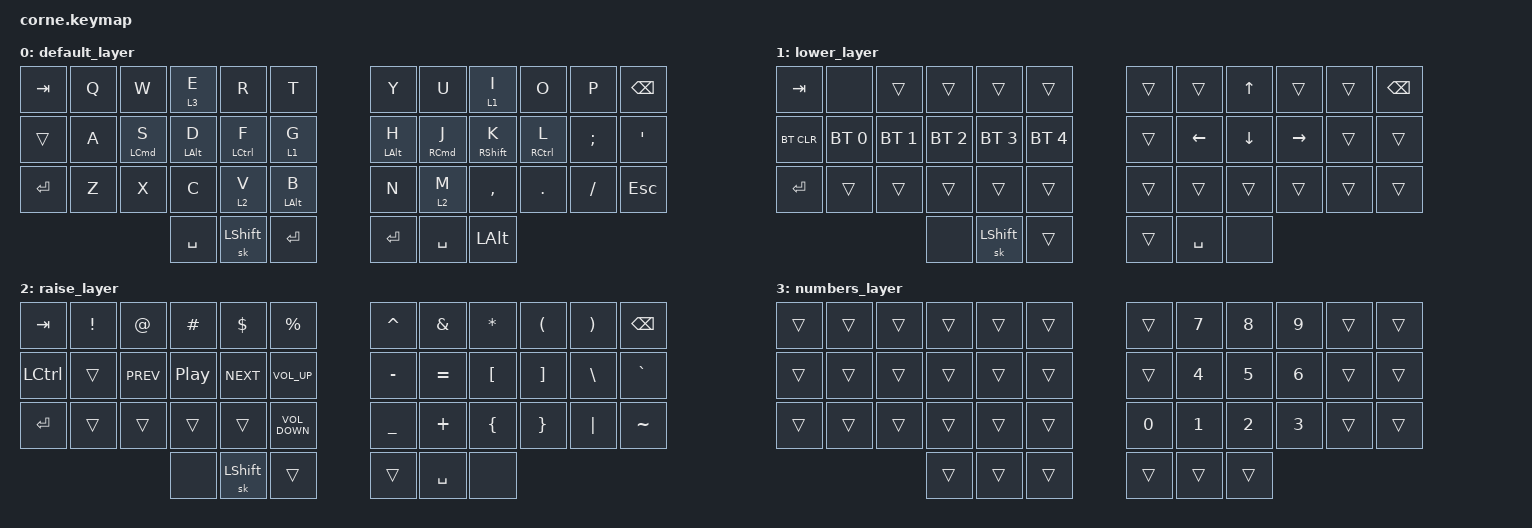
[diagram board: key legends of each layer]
/*
 * Copyright (c) 2020 The ZMK Contributors
 *
 * SPDX-License-Identifier: MIT
 */

#include <behaviors.dtsi>
#include <dt-bindings/zmk/bt.h>
#include <dt-bindings/zmk/keys.h>

/ {
    combos { compatible = "zmk,combos"; };

    behaviors {
        hmr: hmr {
            compatible = "zmk,behavior-hold-tap";
            label = "HMR";
            bindings = <&kp>, <&kp>;

            #binding-cells = <2>;
            tapping-term-ms = <280>;
            quick-tap-ms = <175>;
            flavor = "balanced";
            hold-trigger-key-positions = <0 1 2 3 4 5 12 13 14 15 16 17 24 25 26 27 28 29 36 37 38 39 40 41>;
            hold-trigger-on-release;
            require-prior-idle-ms = <150>;
        };

        hml: hml {
            compatible = "zmk,behavior-hold-tap";
            label = "HML";
            bindings = <&kp>, <&kp>;

            #binding-cells = <2>;
            tapping-term-ms = <280>;
            quick-tap-ms = <175>;
            flavor = "balanced";
            hold-trigger-key-positions = <6 7 8 9 10 11 18 19 20 21 22 23 30 31 32 33 34 35 38 37 36 39 40 41>;
            hold-trigger-on-release;
            require-prior-idle-ms = <150>;
        };

        layer_2_ht: layer_2_ht {
            compatible = "zmk,behavior-hold-tap";
            label = "LAYER_2_HT";
            bindings = <&mo>, <&kp>;

            #binding-cells = <2>;
            tapping-term-ms = <200>;
            quick-tap-ms = <175>;
            flavor = "balanced";
            hold-trigger-key-positions = <17>;
            hold-trigger-on-release;
        };

        layer_1_ht: layer_1_ht {
            compatible = "zmk,behavior-hold-tap";
            label = "LAYER_1_HT";
            bindings = <&mo>, <&kp>;

            #binding-cells = <2>;
            tapping-term-ms = <200>;
            quick-tap-ms = <175>;
            flavor = "balanced";
            hold-trigger-key-positions = <18>;
            hold-trigger-on-release;
        };

        layer_3_ht: layer_3_ht {
            compatible = "zmk,behavior-hold-tap";
            label = "LAYER_3_HT";
            bindings = <&mo>, <&kp>;

            #binding-cells = <2>;
            tapping-term-ms = <200>;
            quick-tap-ms = <175>;
            flavor = "balanced";
            hold-trigger-key-positions = <5>;
            hold-trigger-on-release;
        };
    };

    keymap {
        compatible = "zmk,keymap";

        default_layer {
            // -----------------------------------------------------------------------------------------
            // | TAB   |  Q  |  W  |  F  |  P  |  B  |  --  |   J   |  L  |  U  |  Y  |  ;  | BKSP |
            // | CTRL  |  A  |  R  |  S  |  T  |  G  |  --  |   M   |  N  |  E  |  I  |  O  |  '   |
            // | ENTER |  X  |  C  |  D  |  V  |  Z  |  --  |   K   |  H  |  ,  |  .  |  /  | ESC  |
            //                | GUI | LWR | SK SHIFT |  --  |  RSE  |  SPACE  |  ALT  |

            bindings = <
&kp TAB  &kp Q  &kp W                &layer_3_ht 3 E  &kp R                &kp T              &kp Y            &kp U                 &layer_1_ht 1 I  &kp O         &kp P          &kp BSPC
&trans   &kp A  &hml LEFT_COMMAND S  &hml LEFT_ALT D  &hml LEFT_CONTROL F  &layer_1_ht 1 G    &hmr LEFT_ALT H  &hmr RIGHT_COMMAND J  &hmr RSHIFT K    &hmr RCTRL L  &kp SEMICOLON  &kp SQT
&kp RET  &kp Z  &kp X                &kp C            &layer_2_ht 2 V      &hml LEFT_ALT B    &kp N            &layer_2_ht 2 M       &kp COMMA        &kp DOT       &kp FSLH       &kp ESC
                                     &kp SPACE        &sk LSHIFT           &kp ENTER          &kp ENTER        &kp SPACE             &kp LEFT_ALT
            >;
        };

        lower_layer {
            // -----------------------------------------------------------------------------------------
            // | TAB   |  1  |  2  |  3  |  4  |  5  |  --  |   6   |  7  |  8  |  9  |  0  | BKSP |
            // | BTCLR | BT1 | BT2 | BT3 | BT4 | BT5 |  --  |  LFT  | DWN |  UP | RGT |     |      |
            // | ENTER |     |     |     |     |     |  --  |       |     |     |     |     |      |
            //               | GUI | SK SHIFT  | LWR |  --  |  RSE  |   SPACE   | ALT |

            bindings = <
&kp TAB     &none         &trans        &trans        &trans        &trans          &trans  &trans     &kp UP    &trans     &trans  &kp BSPC
&bt BT_CLR  &bt BT_SEL 0  &bt BT_SEL 1  &bt BT_SEL 2  &bt BT_SEL 3  &bt BT_SEL 4    &trans  &kp LEFT   &kp DOWN  &kp RIGHT  &trans  &trans
&kp RET     &trans        &trans        &trans        &trans        &trans          &trans  &trans     &trans    &trans     &trans  &trans
                                        &none         &sk LSHIFT    &trans          &trans  &kp SPACE  &none
            >;
        };

        raise_layer {
            // -----------------------------------------------------------------------------------------
            // | TAB   |  !  |  @  |  #  |  $  |  %  |  --  |   ^   |   &   |   *   |   (   |   )   |  BKSP  |
            // | CTRL  |     |     |     |     |     |  --  |   -   |   =   |   [   |   ]   |   \   |    `   |
            // | ENTER |     |     |     |     |     |  --  |   _   |   +   |   {   |   }   |  "|"  |    ~   |
            //               | GUI |  SK SHIFT | LWR  |  -- |  RSE  |   SPACE   |  ALT  |

            bindings = <
&kp TAB    &kp EXCL  &kp AT      &kp HASH          &kp DLLR    &kp PRCNT            &kp CARET  &kp AMPS   &kp ASTERISK  &kp LPAR  &kp RPAR  &kp BSPC
&kp LCTRL  &trans    &kp C_PREV  &kp C_PLAY_PAUSE  &kp C_NEXT  &kp C_VOLUME_UP      &kp MINUS  &kp EQUAL  &kp LBKT      &kp RBKT  &kp BSLH  &kp GRAVE
&kp RET    &trans    &trans      &trans            &trans      &kp C_VOLUME_DOWN    &kp UNDER  &kp PLUS   &kp LBRC      &kp RBRC  &kp PIPE  &kp TILDE
                                 &none             &sk LSHIFT  &trans               &trans     &kp SPACE  &none
            >;
        };

        numbers_layer {
            bindings = <
&trans  &trans  &trans  &trans  &trans  &trans    &trans  &kp N7  &kp N8  &kp N9  &trans  &trans
&trans  &trans  &trans  &trans  &trans  &trans    &trans  &kp N4  &kp N5  &kp N6  &trans  &trans
&trans  &trans  &trans  &trans  &trans  &trans    &kp N0  &kp N1  &kp N2  &kp N3  &trans  &trans
                        &trans  &trans  &trans    &trans  &trans  &trans
            >;
        };
    };
};
